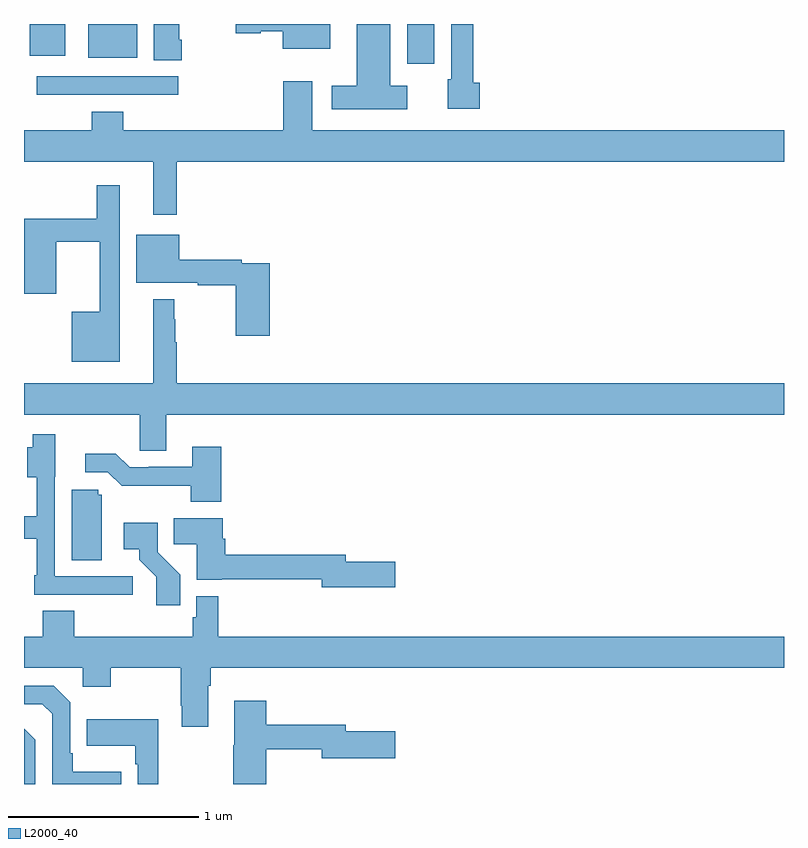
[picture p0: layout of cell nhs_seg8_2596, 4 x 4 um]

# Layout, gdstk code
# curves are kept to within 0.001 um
import gdstk
lib = gdstk.Library(unit=1e-6, precision=1e-09)
def R(c, l, rs):  # rectangles x0, y0, x1, y1
    for r in rs: c.add(gdstk.rectangle(r[:2], r[2:], *l))
def P(c, l, *ps):  # polygons
    for p in ps: c.add(gdstk.Polygon(p, *l))
L2000_40 = (2000, 40)

nhs_seg8_2596 = lib.new_cell('nhs_seg8_2596')
R(nhs_seg8_2596, L2000_40, [(275.067,1107.528,275.812,1107.624), (277.016,1107.69,277.159,1107.9), (275.339,1107.722,275.596,1107.9), (275.03,1107.734,275.218,1107.9)])
P(nhs_seg8_2596, L2000_40, [(277.018,1107.574),(276.928,1107.574),(276.928,1107.9),(276.752,1107.9),(276.752,1107.574),(276.621,1107.574),(276.621,1107.452),(277.018,1107.452)],
  [(275.831,1107.817),(275.818,1107.817),(275.818,1107.9),(275.684,1107.9),(275.684,1107.709),(275.831,1107.709)],
  [(277.399,1107.591),(277.364,1107.591),(277.364,1107.9),(277.248,1107.9),(277.248,1107.609),(277.229,1107.609),(277.229,1107.453),(277.399,1107.453)],
  [(276.613,1107.9),(276.114,1107.9),(276.114,1107.851),(276.246,1107.851),(276.246,1107.863),(276.362,1107.863),(276.362,1107.77),(276.613,1107.77)],
  [(275.803,1107.176),(279,1107.176),(279,1107.34),(276.517,1107.34),(276.517,1107.598),(276.365,1107.598),(276.365,1107.34),(275.522,1107.34),(275.522,1107.439),(275.357,1107.439),(275.357,1107.34),(275,1107.34),(275,1107.176),(275.681,1107.176),(275.681,1106.895),(275.803,1106.895)],
  [(275.503,1107.052),(275.382,1107.052),(275.382,1106.875),(275,1106.875),(275,1106.481),(275.17,1106.481),(275.17,1106.754),(275.399,1106.754),(275.399,1106.386),(275.252,1106.386),(275.252,1106.123),(275.503,1106.123)],
  [(276.293,1106.64),(276.146,1106.64),(276.146,1106.66),(275.818,1106.66),(275.818,1106.791),(275.591,1106.791),(275.591,1106.537),(275.914,1106.537),(275.914,1106.524),(276.115,1106.524),(276.115,1106.259),(276.293,1106.259)],
  [(275.749,1105.844),(279,1105.844),(279,1106.008),(275.803,1106.008),(275.803,1106.225),(275.795,1106.225),(275.795,1106.345),(275.792,1106.345),(275.792,1106.452),(275.681,1106.452),(275.681,1106.008),(275,1106.008),(275,1105.844),(275.61,1105.844),(275.61,1105.654),(275.749,1105.654)],
  [(275.572,1104.993),(275.163,1104.993),(275.163,1105.518),(275.164,1105.518),(275.164,1105.741),(275.047,1105.741),(275.047,1105.672),(275.018,1105.672),(275.018,1105.514),(275.067,1105.514),(275.067,1105.31),(275,1105.31),(275,1105.192),(275.067,1105.192),(275.067,1105),(275.055,1105),(275.055,1104.897),(275.347,1104.897),(275.347,1104.895),(275.572,1104.895)],
  [(276.038,1105.675),(275.885,1105.675),(275.885,1105.569),(275.656,1105.569),(275.656,1105.566),(275.556,1105.566),(275.483,1105.639),(275.322,1105.639),(275.322,1105.542),(275.442,1105.542),(275.515,1105.469),(275.878,1105.47),(275.878,1105.385),(276.038,1105.385)],
  [(275.41,1105.422),(275.391,1105.422),(275.391,1105.449),(275.252,1105.449),(275.252,1105.078),(275.41,1105.078)],
  [(276.955,1105.07),(276.694,1105.07),(276.694,1105.106),(276.059,1105.106),(276.059,1105.19),(276.046,1105.19),(276.046,1105.3),(275.788,1105.3),(275.788,1105.162),(275.909,1105.162),(275.909,1104.974),(276.042,1104.974),(276.042,1104.978),(276.566,1104.978),(276.566,1104.935),(276.955,1104.935)],
  [(275.822,1105.002),(275.703,1105.121),(275.703,1105.276),(275.526,1105.276),(275.526,1105.136),(275.606,1105.136),(275.606,1105.081),(275.697,1104.991),(275.697,1104.84),(275.822,1104.84)],
  [(275.971,1104.416),(275.984,1104.416),(275.984,1104.512),(279,1104.512),(279,1104.676),(276.023,1104.676),(276.023,1104.889),(275.907,1104.889),(275.907,1104.777),(275.887,1104.777),(275.887,1104.676),(275.264,1104.676),(275.264,1104.812),(275.099,1104.812),(275.099,1104.676),(275,1104.676),(275,1104.512),(275.31,1104.512),(275.31,1104.413),(275.457,1104.413),(275.457,1104.512),(275.824,1104.512),(275.824,1104.313),(275.831,1104.313),(275.831,1104.201),(275.971,1104.201)],
  [(275.513,1103.965),(275.257,1103.965),(275.257,1104.061),(275.244,1104.061),(275.244,1104.33),(275.157,1104.417),(275,1104.417),(275,1104.321),(275.097,1104.321),(275.148,1104.27),(275.148,1103.9),(275.513,1103.9)],
  [(276.275,1104.082),(276.566,1104.082),(276.566,1104.035),(276.955,1104.035),(276.955,1104.177),(276.694,1104.177),(276.694,1104.211),(276.275,1104.211),(276.275,1104.337),(276.107,1104.337),(276.107,1104.105),(276.1,1104.105),(276.1,1103.9),(276.275,1103.9)],
  [(275.707,1104.241),(275.329,1104.241),(275.329,1104.101),(275.586,1104.101),(275.586,1104.005),(275.598,1104.005),(275.598,1103.9),(275.707,1103.9)],
  [(275.058,1104.132),(275,1104.19),(275,1103.9),(275.058,1103.9)])

lib.write_gds('nhs_seg8_2596.gds')
